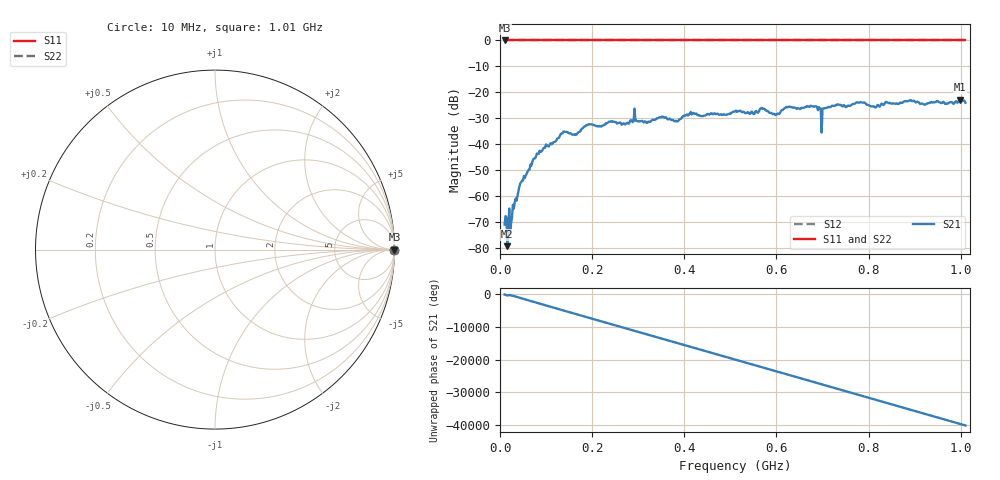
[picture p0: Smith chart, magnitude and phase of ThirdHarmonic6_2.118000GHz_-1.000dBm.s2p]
! 8/17/2025 1:19:32 AM
! C:\ANRITSUVNA\TEMP\TEMP.S2P
! CHANNEL.1
! TR.MEASUREMENT
! RAW.DATA
! RF.CORRECTION.OFF
! AVERAGING.OFF
! IF.BANDWIDTH: 5KHZ
! SWEEPTYPE:  FREQ.SWEEP(Linear)
! Reference Plane Port Info
! PORT:  PORT1  PORT2
! DISTANCE:  0  m  0  m
! TIME:  0  s  0  s
! PHASE.OFFSET:  0  deg.  0  deg.
! LOSS:  0  dB  0  dB
! REF.LOSS:  0  dB  0  dB
! REF.FREQ:  0  Hz  0  Hz
! Power Info
! POWER:  -20  dBm  -20  dBm
! EFF.POWER:  -20  dBm  -20  dBm
! SOURCE.ATTEN:  0  dB  0  dB
! TEST.ATTEN:  0  dB  0  dB
# GHZ S RI R 50.0
! FREQ.GHZ  S11RE  S11IM  S21RE  S21IM  S12RE  S12IM  S22RE  S22IM
!; PortSelection: Port_12
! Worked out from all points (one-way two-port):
!   501 points, 10 MHz to 1.01 GHz, reference 50 ohm
!   highest |S21| = -22.85 dB at 998 MHz (marker M1); lowest = -79.3 dB at 16 MHz (marker M2)
!   lowest |S11| = 0.0 dB at 10 MHz (marker M3)
!   |S11| at or under -10 dB: nowhere
!   |S22| runs from 0.0 to 0.0 dB; largest |S21 - S12| = 1.1
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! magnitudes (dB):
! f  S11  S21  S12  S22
! 10 MHz  0.0  -70.9  0.0  0.0
! 16 MHz  0.0  -79.3  0.0  0.0
! 20 MHz  0.0  -64.8  0.0  0.0
! 30 MHz  0.0  -64.8  0.0  0.0
! 44 MHz  0.0  -55.0  0.0  0.0
! 82 MHz  0.0  -43.7  0.0  0.0
! 136 MHz  0.0  -35.8  0.0  0.0
! 162 MHz  0.0  -36.4  0.0  0.0
! 178 MHz  0.0  -34.1  0.0  0.0
! 344 MHz  0.0  -29.9  0.0  0.0
! 382 MHz  0.0  -31.0  0.0  0.0
! 416 MHz  0.0  -28.5  0.0  0.0
! 510 MHz  0.0  -27.3  0.0  0.0
! 570 MHz  0.0  -26.4  0.0  0.0
! 602 MHz  0.0  -28.1  0.0  0.0
! 624 MHz  0.0  -25.7  0.0  0.0
! 678 MHz  0.0  -25.4  0.0  0.0
! 700 MHz  0.0  -26.3  0.0  0.0
! 732 MHz  0.0  -24.6  0.0  0.0
! 844 MHz  0.0  -24.2  0.0  0.0
! 998 MHz  0.0  -22.8  0.0  0.0
! 1.01 GHz  0.0  -24.0  0.0  0.0
